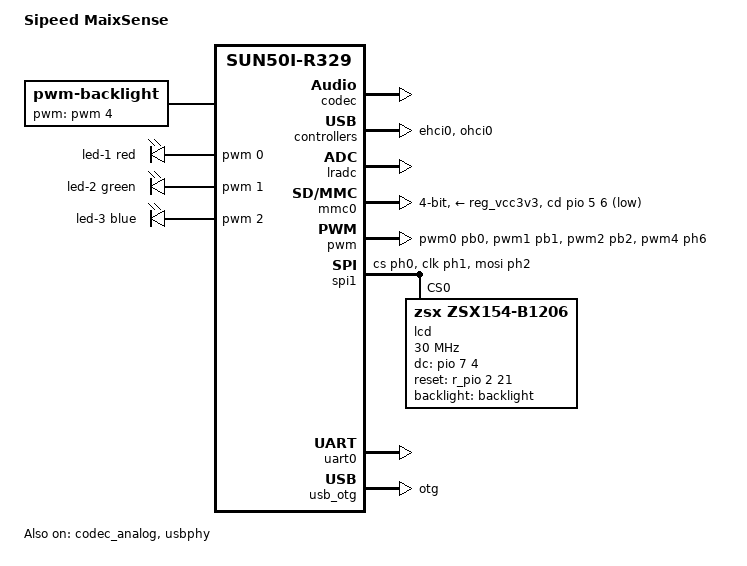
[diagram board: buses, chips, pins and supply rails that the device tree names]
// SPDX-License-Identifier: (GPL-2.0+ OR MIT)
// Copyright (c) 2021 Sipeed

/dts-v1/;

#include "sun50i-r329-maix-iia.dtsi"

#include <dt-bindings/input/input.h>
#include <dt-bindings/leds/common.h>
#include <dt-bindings/pwm/pwm.h>

/ {
	model = "Sipeed MaixSense";
	compatible = "sipeed,maixsense", "sipeed,maix-iia",
		     "allwinner,sun50i-r329";

	aliases {
		serial0 = &uart0;
		mmc0 = &mmc0;
	};

	chosen {
		stdout-path = "serial0:115200n8";
	};

	backlight: backlight {
		compatible = "pwm-backlight";
		pwms = <&pwm 4 50000 PWM_POLARITY_INVERTED>;
		brightness-levels = <0 16 18 20 22 24 26 29 32 35 38 42 46 51 56 62 68 75 83 91 100>;
		default-brightness-level = <15>;
	};

	leds {
		compatible = "pwm-leds";

		led-1 {
			color = <LED_COLOR_ID_RED>;
	                function = LED_FUNCTION_INDICATOR;
			function-enumerator = <1>;
			pwms = <&pwm 0 50000 PWM_POLARITY_INVERTED>;
			max-brightness = <255>;
			linux,default-trigger = "heartbeat";
		};

		led-2 {
			color = <LED_COLOR_ID_GREEN>;
			function = LED_FUNCTION_INDICATOR;
			function-enumerator = <2>;
			pwms = <&pwm 1 50000 PWM_POLARITY_INVERTED>;
			max-brightness = <255>;
		};

		led-3 {
			color = <LED_COLOR_ID_BLUE>;
			function = LED_FUNCTION_INDICATOR;
			function-enumerator = <3>;
			pwms = <&pwm 2 50000 PWM_POLARITY_INVERTED>;
			max-brightness = <255>;
		};
	};
};

&codec {
	status = "okay";
	allwinner,audio-routing =
		"Speaker", "SPKL",
		"MIC1", "Mic",
		"MIC2", "Mic",
		"Mic", "MBIAS",
		"Mic", "MBIAS";
};

&codec_analog {
	status = "okay";
};

&ehci0 {
	status = "okay";
};

&lradc {
	status = "okay";

	button-155 {
		label = "Right";
		linux,code = <KEY_RIGHT>;
		channel = <0>;
		voltage = <155013>;
	};

	button-310 {
		label = "Left";
		linux,code = <KEY_LEFT>;
		channel = <0>;
		voltage = <309828>;
	};

	button-463 {
		label = "B";
		linux,code = <KEY_B>;
		channel = <0>;
		voltage = <463317>;
	};

	button-599 {
		label = "A";
		linux,code = <KEY_A>;
		channel = <0>;
		voltage = <599420>;
	};
};

&mmc0 {
	pinctrl-names = "default";
	pinctrl-0 = <&mmc0_pf_pins>;

	vmmc-supply = <&reg_vcc3v3>;
	bus-width = <4>;
	cd-gpios = <&pio 5 6 GPIO_ACTIVE_LOW>; /* PF6 */
	status = "okay";
};

&ohci0 {
	status = "okay";
};

&pwm {
	pinctrl-names = "default";
	pinctrl-0 = <&pwm0_pb0>, <&pwm1_pb1>, <&pwm2_pb2>, <&pwm4_ph6>;
	status = "okay";
};

&spi1 {
	pinctrl-names = "default";
	pinctrl-0 = <&spi1_cs_ph0>, <&spi1_clk_ph1>, <&spi1_mosi_ph2>;

	status = "okay";

	lcd: lcd@0 {
		compatible = "zsx,zsx154-b1206";
		reg = <0>;
		spi-max-frequency = <30000000>;
		dc-gpios = <&pio 7 4 GPIO_ACTIVE_HIGH>;
		reset-gpios = <&r_pio 2 21 GPIO_ACTIVE_HIGH>;
		backlight = <&backlight>;
	};
};

&uart0 {
	pinctrl-names = "default";
	pinctrl-0 = <&uart0_pb_pins>;
	status = "okay";
};

&usb_otg {
	dr_mode = "otg";
	status = "okay";
};

&usbphy {
	usb0_id_det-gpios = <&pio 1 3 GPIO_ACTIVE_HIGH>; /* PB3 */
	status = "okay";
};
